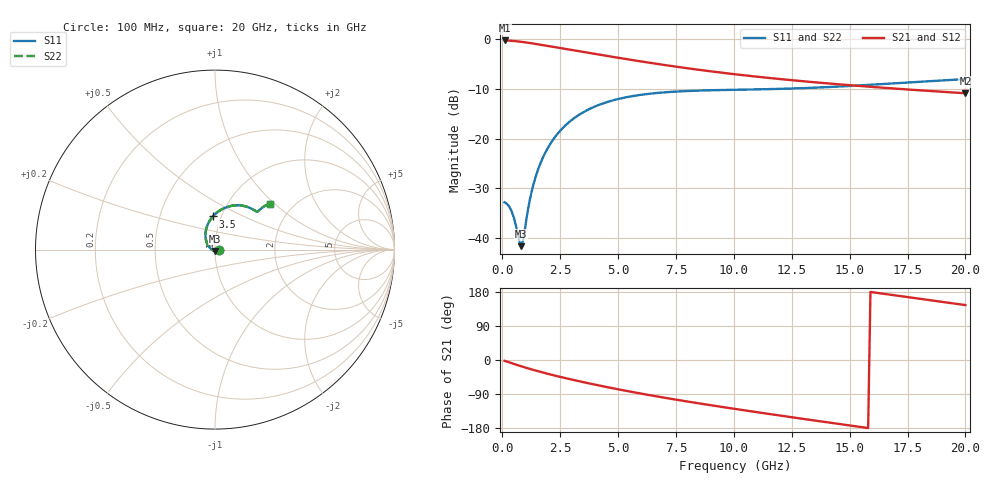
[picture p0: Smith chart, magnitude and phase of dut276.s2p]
! Touchstone file exported from HFSS 2024.1.0
!  File:  C:/UserFiles/LocalFiles/RDL_TSV_Batchsim/temp_RDL_TSV_276_1779463306.aedt
!  Generated:  11:38:07 PM May 22, 2026
!  Design:  RDL_TSV
!  Project:  temp_RDL_TSV_276_1779463306
!  Setup:  Setup1
!  Solution:  Sweep
! Variables:
!  dtsv = 14.36um
!  hbump = 3um
!  htsv = 88.15um
!  ldown = 397.16um
!  lrdl = 360.99um
!  p = 40
!  p1 = 54.02um
!  rhole = 10um
!  subl = 2635.44um
!  t = 450um
!  tdown = 3.05um
!  trdl = 2.75um
!  viad = 10um
!  wdown = 24.8um
!  wrdl = 10.41um
!  xbump = 18um
# GHz S MA R 50.000000
! Terminal data exported
! Port[1] = TM1_1_T1
! Port[2] = TM1_4_T1
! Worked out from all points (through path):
!   200 points, 100 MHz to 20 GHz, reference 50 ohm
!   highest |S21| = -0.21 dB at 100 MHz (marker M1); lowest = -10.8 dB at 20 GHz (marker M2)
!   group delay of S21, straight-line fit = 27.9 ps
!   lowest |S11| = -41.6 dB at 800 MHz (marker M3), VSWR 1.02, Z = 49.8 - j0.809 ohm
!   |S11| at or under -10 dB: start of sweep to 11.6 GHz
!   |S22| runs from -41.6 to -8.0 dB; largest |S21 - S12| = 2.3e-13
!   S11 on the Smith chart (normalised r, x): 100 MHz: 1.05, -0.00; 3.5 GHz: 0.91, +0.35; 20 GHz: 1.55, +0.93
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0.1  0.02289 -5.1  0.9762 -2.1  0.9762 -2.1  0.02289 -5.1
! Gamma 0 0 0 0
! Port Impedance 50 0 50 0
0.3  0.02074 -17.2  0.9717 -6.3  0.9717 -6.3  0.02074 -17.2
0.4  0.01869 -24.9  0.9681 -8.3  0.9681 -8.3  0.01869 -24.9
0.5  0.01605 -34.4  0.9638 -10.4  0.9638 -10.4  0.01605 -34.4
0.8  0.008289 -101.6  0.9473 -16.2  0.9473 -16.2  0.008294 -101.5
0.9  0.009507 -140.6  0.9408 -18.1  0.9408 -18.1  0.009505 -140.5
1.1  0.01884 177.4  0.9268 -21.8  0.9268 -21.8  0.01883 177.5
1.3  0.03159 159.4  0.9119 -25.4  0.9119 -25.4  0.03158 159.5
1.5  0.04572 148.1  0.8963 -28.8  0.8963 -28.8  0.04569 148.1
1.8  0.06808 135.5  0.8726 -33.8  0.8726 -33.8  0.06805 135.5
2.1  0.09081 125.6  0.8491 -38.5  0.8491 -38.5  0.09077 125.6
2.5  0.1204 114.6  0.8185 -44.5  0.8185 -44.5  0.1203 114.6
3  0.1546 103.3  0.782 -51.6  0.782 -51.6  0.1546 103.3
3.5  0.1849 93.8  0.7473 -58.5  0.7473 -58.5  0.1849 93.8
4.9  0.2477 73.8  0.6595 -76.1  0.6595 -76.1  0.2476 73.8
6.8  0.2907 56.9  0.5617 -97.4  0.5617 -97.4  0.2905 57.0
8.4  0.3049 48.7  0.4975 -113.5  0.4975 -113.5  0.3048 48.7
10.1  0.3113 44.0  0.4444 -129.6  0.4444 -129.6  0.3111 44.0
11.7  0.3166 42.1  0.4052 -144.0  0.4052 -144.0  0.3164 42.1
13.4  0.326 41.6  0.3718 -158.9  0.3718 -158.9  0.3259 41.7
16.7  0.3586 41.5  0.323 172.8  0.323 172.8  0.3586 41.6
20  0.3989 39.5  0.2872 144.9  0.2872 144.9  0.3992 39.6
